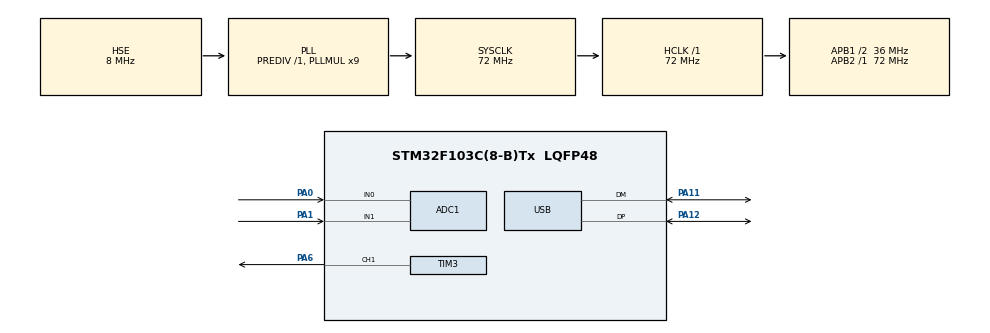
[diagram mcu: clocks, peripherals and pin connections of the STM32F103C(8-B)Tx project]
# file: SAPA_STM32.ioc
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ADC1.Channel-0\#ChannelRegularConversion=ADC_CHANNEL_0
ADC1.Channel-1\#ChannelRegularConversion=ADC_CHANNEL_1
ADC1.ExternalTrigConv=ADC_EXTERNALTRIGCONV_T3_TRGO
ADC1.NbrOfConversion=2
ADC1.NbrOfConversionFlag=1
ADC1.Rank-0\#ChannelRegularConversion=1
ADC1.Rank-1\#ChannelRegularConversion=2
ADC1.SamplingTime-0\#ChannelRegularConversion=ADC_SAMPLETIME_239CYCLES_5
ADC1.SamplingTime-1\#ChannelRegularConversion=ADC_SAMPLETIME_239CYCLES_5
ADC1.master=1
Mcu.Family=STM32F1
Mcu.Name=STM32F103C(8-B)Tx
Mcu.Package=LQFP48
NVIC.PriorityGroup=NVIC_PRIORITYGROUP_4
NVIC.USB_LP_CAN1_RX0_IRQn=true\:0\:0\:false\:false\:true\:false\:true\:true
PA0-WKUP.Signal=ADCx_IN0
PA1.Signal=ADCx_IN1
PA11.Mode=Device
PA11.Signal=USB_DM
PA12.Mode=Device
PA12.Signal=USB_DP
PA13.Mode=Serial_Wire
PA13.Signal=SYS_JTMS-SWDIO
PA14.Mode=Serial_Wire
PA14.Signal=SYS_JTCK-SWCLK
PA6.Signal=S_TIM3_CH1
PD0-OSC_IN.Mode=HSE-External-Oscillator
PD0-OSC_IN.Signal=RCC_OSC_IN
PD1-OSC_OUT.Mode=HSE-External-Oscillator
PD1-OSC_OUT.Signal=RCC_OSC_OUT
ProjectManager.HeapSize=0x200
ProjectManager.StackSize=0x400
ProjectManager.TargetToolchain=STM32CubeIDE
RCC.ADCPresc=RCC_ADCPCLK2_DIV6
RCC.AHBFreq_Value=72000000
RCC.APB1CLKDivider=RCC_HCLK_DIV2
RCC.APB1Freq_Value=36000000
RCC.APB1TimFreq_Value=72000000
RCC.APB2Freq_Value=72000000
RCC.APB2TimFreq_Value=72000000
RCC.HCLKFreq_Value=72000000
RCC.PLLMUL=RCC_PLL_MUL9
RCC.SYSCLKFreq_VALUE=72000000
RCC.SYSCLKSource=RCC_SYSCLKSOURCE_PLLCLK
RCC.USBFreq_Value=48000000
RCC.USBPrescaler=RCC_USBCLKSOURCE_PLL_DIV1_5
SH.ADCx_IN0.0=ADC1_IN0,IN0
SH.ADCx_IN1.0=ADC1_IN1,IN1
SH.S_TIM3_CH1.0=TIM3_CH1,Output Compare1 CH1
TIM3.Channel-Output\ Compare1\ CH1=TIM_CHANNEL_1
TIM3.Period=7199
TIM3.TIM_MasterOutputTrigger=TIM_TRGO_UPDATE
USB_DEVICE.CLASS_NAME_FS=CDC
USB_DEVICE.VirtualMode=Cdc
USB_DEVICE.VirtualModeFS=Cdc_FS
VP_TIM3_VS_ClockSourceINT.Mode=Internal
VP_USB_DEVICE_VS_USB_DEVICE_CDC_FS.Mode=CDC_FS
board=custom

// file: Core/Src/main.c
/* USER CODE BEGIN Header */
/**
  ******************************************************************************
  * @file           : main.c
  * @brief          : Main program body
  ******************************************************************************
  * @attention
  *
  * Copyright (c) 2024 STMicroelectronics.
  * All rights reserved.
  *
  * This software is licensed under terms that can be found in the LICENSE file
  * in the root directory of this software component.
  * If no LICENSE file comes with this software, it is provided AS-IS.
  *
  ******************************************************************************
  */
/* USER CODE END Header */
#include "main.h"
#include "usb_device.h"

/* USER CODE BEGIN Includes */
#include "usbd_cdc_if.h"
/* USER CODE END Includes */

ADC_HandleTypeDef hadc1;

TIM_HandleTypeDef htim3;

/* USER CODE BEGIN PV */
uint32_t adc_buffer[2];
uint16_t adc_data[2];
uint8_t uart_data[6];
/* USER CODE END PV */

void SystemClock_Config(void);
static void MX_GPIO_Init(void);
static void MX_ADC1_Init(void);
static void MX_TIM3_Init(void);

int main(void)
{

  /* MCU Configuration--------------------------------------------------------*/

  /* Reset of all peripherals, Initializes the Flash interface and the Systick. */
  HAL_Init();

  /* Configure the system clock */
  SystemClock_Config();

  /* Initialize all configured peripherals */
  MX_GPIO_Init();
  MX_ADC1_Init();
  MX_TIM3_Init();
  MX_USB_DEVICE_Init();
  /* USER CODE BEGIN 2 */
  HAL_ADC_Start_DMA(&hadc1, (uint32_t *)adc_buffer, 2);
  HAL_TIM_Base_Start(&htim3);

  /* USER CODE END 2 */

  /* Infinite loop */
  while (1)
  {

  }
}

void SystemClock_Config(void)
{
  RCC_OscInitTypeDef RCC_OscInitStruct = {0};
  RCC_ClkInitTypeDef RCC_ClkInitStruct = {0};
  RCC_PeriphCLKInitTypeDef PeriphClkInit = {0};

  /** Initializes the RCC Oscillators according to the specified parameters
  * in the RCC_OscInitTypeDef structure.
  */
  RCC_OscInitStruct.OscillatorType = RCC_OSCILLATORTYPE_HSE;
  RCC_OscInitStruct.HSEState = RCC_HSE_ON;
  RCC_OscInitStruct.HSEPredivValue = RCC_HSE_PREDIV_DIV1;
  RCC_OscInitStruct.HSIState = RCC_HSI_ON;
  RCC_OscInitStruct.PLL.PLLState = RCC_PLL_ON;
  RCC_OscInitStruct.PLL.PLLSource = RCC_PLLSOURCE_HSE;
  RCC_OscInitStruct.PLL.PLLMUL = RCC_PLL_MUL9;
  if (HAL_RCC_OscConfig(&RCC_OscInitStruct) != HAL_OK)
  {
    Error_Handler();
  }

  /** Initializes the CPU, AHB and APB buses clocks
  */
  RCC_ClkInitStruct.ClockType = RCC_CLOCKTYPE_HCLK|RCC_CLOCKTYPE_SYSCLK
                              |RCC_CLOCKTYPE_PCLK1|RCC_CLOCKTYPE_PCLK2;
  RCC_ClkInitStruct.SYSCLKSource = RCC_SYSCLKSOURCE_PLLCLK;
  RCC_ClkInitStruct.AHBCLKDivider = RCC_SYSCLK_DIV1;
  RCC_ClkInitStruct.APB1CLKDivider = RCC_HCLK_DIV2;
  RCC_ClkInitStruct.APB2CLKDivider = RCC_HCLK_DIV1;

  if (HAL_RCC_ClockConfig(&RCC_ClkInitStruct, FLASH_LATENCY_2) != HAL_OK)
  {
    Error_Handler();
  }
  PeriphClkInit.PeriphClockSelection = RCC_PERIPHCLK_ADC|RCC_PERIPHCLK_USB;
  PeriphClkInit.AdcClockSelection = RCC_ADCPCLK2_DIV6;
  PeriphClkInit.UsbClockSelection = RCC_USBCLKSOURCE_PLL_DIV1_5;
  if (HAL_RCCEx_PeriphCLKConfig(&PeriphClkInit) != HAL_OK)
  {
    Error_Handler();
  }
}

static void MX_ADC1_Init(void)
{

  ADC_ChannelConfTypeDef sConfig = {0};

  /** Common config
  */
  hadc1.Instance = ADC1;
  hadc1.Init.ScanConvMode = ADC_SCAN_ENABLE;
  hadc1.Init.ContinuousConvMode = DISABLE;
  hadc1.Init.DiscontinuousConvMode = DISABLE;
  hadc1.Init.ExternalTrigConv = ADC_EXTERNALTRIGCONV_T3_TRGO;
  hadc1.Init.DataAlign = ADC_DATAALIGN_RIGHT;
  hadc1.Init.NbrOfConversion = 2;
  if (HAL_ADC_Init(&hadc1) != HAL_OK)
  {
    Error_Handler();
  }

  /** Configure Regular Channel
  */
  sConfig.Channel = ADC_CHANNEL_0;
  sConfig.Rank = ADC_REGULAR_RANK_1;
  sConfig.SamplingTime = ADC_SAMPLETIME_239CYCLES_5;
  if (HAL_ADC_ConfigChannel(&hadc1, &sConfig) != HAL_OK)
  {
    Error_Handler();
  }

  /** Configure Regular Channel
  */
  sConfig.Channel = ADC_CHANNEL_1;
  sConfig.Rank = ADC_REGULAR_RANK_2;
  if (HAL_ADC_ConfigChannel(&hadc1, &sConfig) != HAL_OK)
  {
    Error_Handler();
  }

}

static void MX_TIM3_Init(void)
{

  TIM_ClockConfigTypeDef sClockSourceConfig = {0};
  TIM_MasterConfigTypeDef sMasterConfig = {0};
  TIM_OC_InitTypeDef sConfigOC = {0};

  htim3.Instance = TIM3;
  htim3.Init.Prescaler = 0;
  htim3.Init.CounterMode = TIM_COUNTERMODE_UP;
  htim3.Init.Period = 7199;
  htim3.Init.ClockDivision = TIM_CLOCKDIVISION_DIV1;
  htim3.Init.AutoReloadPreload = TIM_AUTORELOAD_PRELOAD_DISABLE;
  if (HAL_TIM_Base_Init(&htim3) != HAL_OK)
  {
    Error_Handler();
  }
  sClockSourceConfig.ClockSource = TIM_CLOCKSOURCE_INTERNAL;
  if (HAL_TIM_ConfigClockSource(&htim3, &sClockSourceConfig) != HAL_OK)
  {
    Error_Handler();
  }
  if (HAL_TIM_OC_Init(&htim3) != HAL_OK)
  {
    Error_Handler();
  }
  sMasterConfig.MasterOutputTrigger = TIM_TRGO_UPDATE;
  sMasterConfig.MasterSlaveMode = TIM_MASTERSLAVEMODE_DISABLE;
  if (HAL_TIMEx_MasterConfigSynchronization(&htim3, &sMasterConfig) != HAL_OK)
  {
    Error_Handler();
  }
  sConfigOC.OCMode = TIM_OCMODE_TIMING;
  sConfigOC.Pulse = 0;
  sConfigOC.OCPolarity = TIM_OCPOLARITY_HIGH;
  sConfigOC.OCFastMode = TIM_OCFAST_DISABLE;
  if (HAL_TIM_OC_ConfigChannel(&htim3, &sConfigOC, TIM_CHANNEL_1) != HAL_OK)
  {
    Error_Handler();
  }
  HAL_TIM_MspPostInit(&htim3);

}

static void MX_GPIO_Init(void)
{

  /* GPIO Ports Clock Enable */
  __HAL_RCC_GPIOD_CLK_ENABLE();
  __HAL_RCC_GPIOA_CLK_ENABLE();

}

/* USER CODE BEGIN 4 */
void HAL_ADC_ConvCpltCallback(ADC_HandleTypeDef* hadc1) {

	adc_data[0] = adc_buffer[0];
	adc_data[1] = adc_buffer[1];

	uart_data[0] = adc_data[0] >> 4;
	uart_data[1] = ((adc_data[0] << 4) & 0x00F0) | (adc_data[1] >> 8);
	uart_data[2] = adc_data[1];
	uart_data[3] = 0xFF;
	uart_data[4] = 0xFF;
	uart_data[5] = '\n';

	CDC_Transmit_FS((uint8_t *)uart_data, 6);
}
/* USER CODE END 4 */

void Error_Handler(void)
{
  __disable_irq();
  while (1)
  {
  }
}
